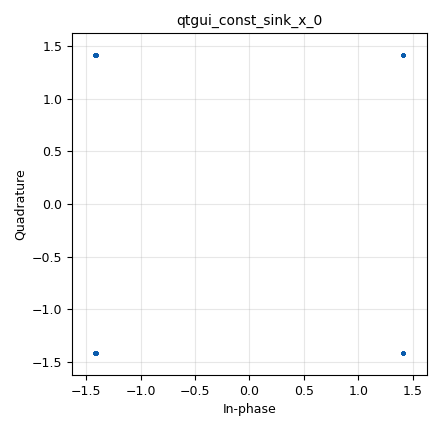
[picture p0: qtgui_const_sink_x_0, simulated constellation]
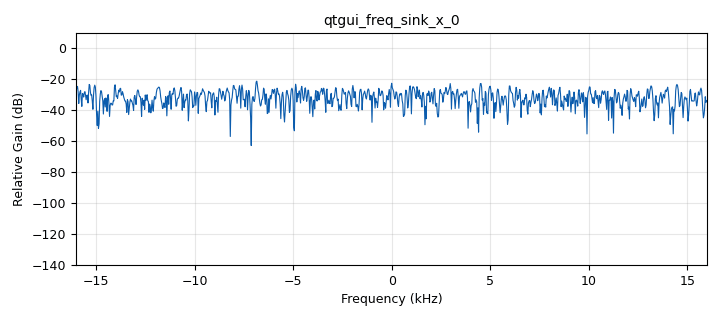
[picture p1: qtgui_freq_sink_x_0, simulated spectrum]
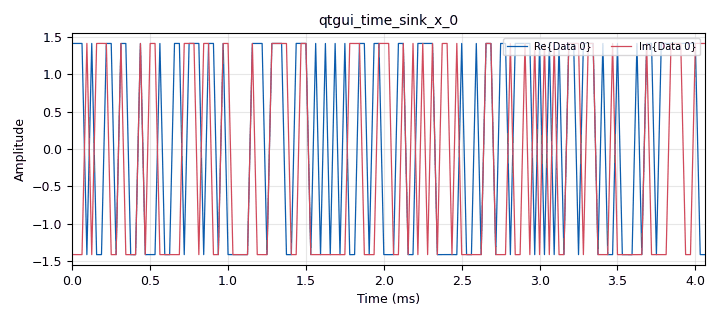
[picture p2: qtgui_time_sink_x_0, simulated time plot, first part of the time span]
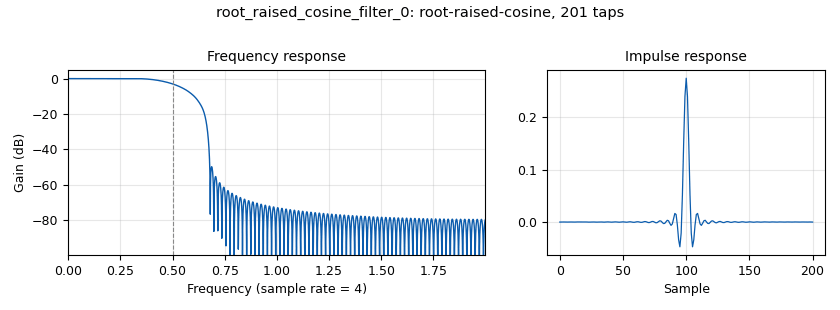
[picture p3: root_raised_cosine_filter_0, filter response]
options:
  parameters:
    generate_options: qt_gui
    id: qpsk_simulation1
    output_language: python
    title: QPSK
  states: {}

blocks:
- name: qpsk_constellation_0
  id: variable_constellation
  parameters:
    precision: '8'
    type: qpsk
  states: {}
- name: samp_rate
  id: variable
  parameters:
    value: '32000'
  states: {}
- name: analog_random_source_x_0
  id: analog_random_source_x
  parameters:
    max: '256'
    min: '0'
    num_samps: '1000'
    repeat: 'True'
    type: byte
  states: {}
- name: blocks_throttle2_0
  id: blocks_throttle2
  parameters:
    samples_per_second: samp_rate
    type: complex
  states: {}
- name: digital_constellation_modulator_0
  id: digital_constellation_modulator
  parameters:
    constellation: qpsk_constellation_0
    differential: 'False'
    excess_bw: '0.35'
    samples_per_symbol: '4'
  states: {}
- name: qtgui_const_sink_x_0
  id: qtgui_const_sink_x
  parameters:
    autoscale: 'True'
    grid: 'True'
    size: '1024'
    type: complex
  states: {}
- name: qtgui_freq_sink_x_0
  id: qtgui_freq_sink_x
  parameters:
    bw: samp_rate
    fc: '0'
    fftsize: '1024'
    type: complex
  states: {}
- name: qtgui_time_sink_x_0
  id: qtgui_time_sink_x
  parameters:
    autoscale: 'True'
    grid: 'True'
    size: '1024'
    srate: samp_rate
    type: complex
  states: {}
- name: root_raised_cosine_filter_0
  id: root_raised_cosine_filter
  parameters:
    alpha: '0.35'
    decim: '4'
    gain: '1'
    ntaps: '200'
    samp_rate: '4'
    sym_rate: '1.0'
    type: fir_filter_ccf
  states: {}

connections:
- [analog_random_source_x_0, '0', digital_constellation_modulator_0, '0']
- [blocks_throttle2_0, '0', root_raised_cosine_filter_0, '0']
- [digital_constellation_modulator_0, '0', blocks_throttle2_0, '0']
- [root_raised_cosine_filter_0, '0', qtgui_const_sink_x_0, '0']
- [root_raised_cosine_filter_0, '0', qtgui_freq_sink_x_0, '0']
- [root_raised_cosine_filter_0, '0', qtgui_time_sink_x_0, '0']

metadata:
  file_format: 1
  grc_version: 3.10.11.0
